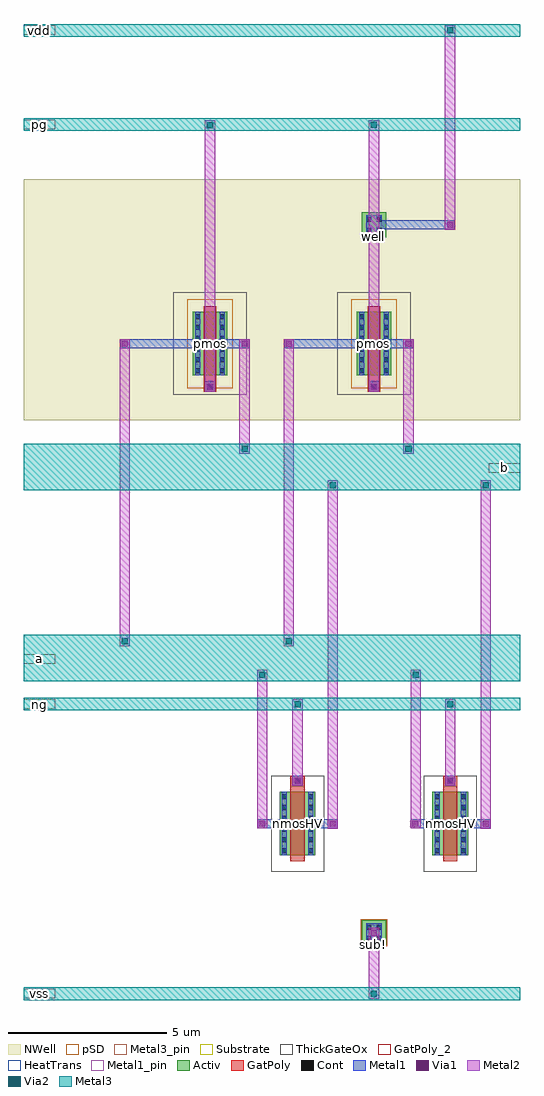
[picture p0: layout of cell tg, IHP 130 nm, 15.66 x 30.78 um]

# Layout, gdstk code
import gdstk
lib = gdstk.Library(unit=1e-6, precision=1e-09)
def R(c, l, rs):  # rectangles x0, y0, x1, y1
    for r in rs: c.add(gdstk.rectangle(r[:2], r[2:], *l))
def A(c, l, x, y, w, h, nx, ny, dx, dy):  # array of equal rectangles
    R(c, l, [(x+i*dx, y+j*dy, x+i*dx+w, y+j*dy+h) for i in range(nx) for j in range(ny)])
Activ = (1, 0)
GatPoly = (5, 0)
GatPoly_2 = (5, 2)
Cont = (6, 0)
Metal1 = (8, 0)
Metal1_pin = (8, 2)
Metal2 = (10, 0)
pSD = (14, 0)
Via1 = (19, 0)
Via2 = (29, 0)
Metal3 = (30, 0)
Metal3_pin = (30, 2)
NWell = (31, 0)
Substrate = (40, 0)
ThickGateOx = (44, 0)
HeatTrans = (51, 0)

c_tg = lib.new_cell('tg')
R(c_tg, Activ, [(2.235,-11.63,3.015,-10.85), (-0.35,-8.8,-0.05,-8.5), (-0.35,-8.8,0.78,-6.8), (0.48,-8.8,0.78,-8.5), (4.47,-8.8,4.77,-8.5), (4.47,-8.8,5.6,-6.8), (5.3,-8.8,5.6,-8.5), (-3.085,6.34,-2.785,6.64), (-3.085,6.34,-2.005,8.34), (-2.305,6.34,-2.005,6.64), (2.085,6.34,2.385,6.64), (2.085,6.34,3.165,8.34), (2.865,6.34,3.165,6.64), (2.235,10.7,3.015,11.48)])
R(c_tg, GatPoly, [(-0.01,-8.98,0.44,-6.62), (4.81,-8.98,5.26,-6.62), (-0.01,-6.64,0.44,-6.29), (4.81,-6.64,5.26,-6.29), (-2.745,5.83,-2.345,6.18), (2.425,5.83,2.825,6.18), (-2.745,6.16,-2.345,8.52), (2.425,6.16,2.825,8.52)])
R(c_tg, GatPoly_2, [(-0.01,-8.98,0.44,-6.62), (4.81,-8.98,5.26,-6.62), (-2.745,6.16,-2.345,8.52), (2.425,6.16,2.825,8.52)])
A(c_tg, Cont, -0.28, -8.73, 0.16, 0.16, 1, 6, 0, 0.34)
A(c_tg, Cont, 0.55, -8.73, 0.16, 0.16, 1, 6, 0, 0.34)
A(c_tg, Cont, 4.54, -8.73, 0.16, 0.16, 1, 6, 0, 0.34)
A(c_tg, Cont, 5.37, -8.73, 0.16, 0.16, 1, 6, 0, 0.34)
A(c_tg, Cont, -3.015, 6.41, 0.16, 0.16, 1, 6, 0, 0.34)
A(c_tg, Cont, -2.235, 6.41, 0.16, 0.16, 1, 6, 0, 0.34)
A(c_tg, Cont, 2.155, 6.41, 0.16, 0.16, 1, 6, 0, 0.34)
A(c_tg, Cont, 2.935, 6.41, 0.16, 0.16, 1, 6, 0, 0.34)
R(c_tg, Cont, [(2.375,-11.49,2.535,-11.33), (2.715,-11.49,2.875,-11.33), (2.375,-11.15,2.535,-10.99), (2.715,-11.15,2.875,-10.99), (0.135,-6.52,0.295,-6.36), (4.955,-6.52,5.115,-6.36), (-2.625,5.9,-2.465,6.06), (2.545,5.9,2.705,6.06), (2.375,10.84,2.535,11), (2.715,10.84,2.875,11), (2.375,11.18,2.535,11.34), (2.715,11.18,2.875,11.34)])
R(c_tg, Metal1, [(2.375,-11.54,2.875,-10.94), (2.375,-11.49,2.875,-10.99), (2.48,-11.345,2.77,-11.135), (-0.28,-8.8,-0.12,-6.8), (0.55,-8.8,0.71,-6.8), (4.54,-8.8,4.7,-6.8), (5.37,-8.8,5.53,-6.8), (-1.04,-7.94,-0.06,-7.66), (0.49,-7.94,1.47,-7.66), (3.78,-7.94,4.76,-7.66), (5.31,-7.94,6.29,-7.66), (-1.045,-7.905,-0.755,-7.695), (1.185,-7.905,1.475,-7.695), (3.775,-7.905,4.065,-7.695), (6.005,-7.905,6.295,-7.695), (0.055,-6.6,0.375,-6.28), (4.875,-6.6,5.195,-6.28), (0.07,-6.545,0.36,-6.335), (4.89,-6.545,5.18,-6.335), (-2.705,5.82,-2.385,6.14), (2.465,5.82,2.785,6.14), (-2.69,5.875,-2.4,6.085), (2.48,5.875,2.77,6.085), (-3.015,6.34,-2.855,8.34), (-2.235,6.34,-2.075,8.34), (2.155,6.34,2.315,8.34), (2.935,6.34,3.095,8.34), (-5.375,7.2,-2.795,7.48), (-2.295,7.2,-1.315,7.48), (-0.205,7.2,2.375,7.48), (2.875,7.2,3.855,7.48), (-5.38,7.235,-5.09,7.445), (-1.6,7.235,-1.31,7.445), (-0.21,7.235,0.08,7.445), (3.57,7.235,3.86,7.445), (2.375,10.79,2.875,11.39), (2.485,10.95,5.165,11.23), (4.88,10.985,5.17,11.195)])
R(c_tg, Metal1_pin, [(2.375,-11.49,2.875,-10.99), (-0.28,-8.8,-0.12,-6.8), (0.55,-8.8,0.71,-6.8), (4.54,-8.8,4.7,-6.8), (5.37,-8.8,5.53,-6.8), (-3.015,6.34,-2.855,8.34), (-2.235,6.34,-2.075,8.34), (2.155,6.34,2.315,8.34), (2.935,6.34,3.095,8.34), (2.375,10.79,2.875,11.39), (2.375,10.84,2.875,11.34)])
R(c_tg, Metal2, [(2.465,-13.32,2.785,-11.08), (2.48,-13.26,2.77,-13.06), (2.48,-11.34,2.77,-11.14), (1.17,-7.96,1.49,3.035), (5.99,-7.96,6.31,3.03), (-1.06,-7.94,-0.74,-2.94), (3.78,-7.94,4.1,-2.94), (-1.045,-7.9,-0.755,-7.7), (1.185,-7.9,1.475,-7.7), (3.775,-7.9,4.065,-7.7), (6.005,-7.9,6.295,-7.7), (0.055,-6.6,0.375,-3.87), (4.875,-6.6,5.195,-3.87), (0.07,-6.54,0.36,-6.34), (4.89,-6.54,5.18,-6.34), (0.07,-4.13,0.36,-3.93), (4.89,-4.13,5.18,-3.93), (-1.045,-3.205,-0.755,-3.005), (3.795,-3.205,4.085,-3.005), (-5.395,-2.21,-5.075,7.48), (-0.225,-2.21,0.095,7.48), (-5.38,-2.145,-5.09,-1.945), (-0.21,-2.145,0.08,-1.945), (1.185,2.78,1.475,2.98), (6.005,2.78,6.295,2.98), (-1.615,3.86,-1.295,7.48), (3.555,3.86,3.875,7.48), (-1.6,3.925,-1.31,4.125), (3.57,3.925,3.86,4.125), (-2.705,5.82,-2.385,14.38), (2.465,5.82,2.785,14.38), (-2.69,5.88,-2.4,6.08), (2.48,5.88,2.77,6.08), (-5.38,7.24,-5.09,7.44), (-1.6,7.24,-1.31,7.44), (-0.21,7.24,0.08,7.44), (3.57,7.24,3.86,7.44), (4.865,10.93,5.185,17.38), (4.88,10.99,5.17,11.19), (-2.69,14.12,-2.4,14.32), (2.48,14.15,2.77,14.35), (4.88,17.12,5.17,17.32)])
R(c_tg, pSD, [(2.205,-11.66,3.045,-10.82), (-3.265,5.94,-1.825,8.74), (1.905,5.94,3.345,8.74)])
R(c_tg, Via1, [(2.53,-11.335,2.72,-11.145), (-0.995,-7.895,-0.805,-7.705), (1.235,-7.895,1.425,-7.705), (3.825,-7.895,4.015,-7.705), (6.055,-7.895,6.245,-7.705), (0.12,-6.535,0.31,-6.345), (4.94,-6.535,5.13,-6.345), (-2.64,5.885,-2.45,6.075), (2.53,5.885,2.72,6.075), (-5.33,7.245,-5.14,7.435), (-1.55,7.245,-1.36,7.435), (-0.16,7.245,0.03,7.435), (3.62,7.245,3.81,7.435), (4.93,10.995,5.12,11.185)])
R(c_tg, Via2, [(2.53,-13.255,2.72,-13.065), (0.12,-4.125,0.31,-3.935), (4.94,-4.125,5.13,-3.935), (-0.995,-3.2,-0.805,-3.01), (3.845,-3.2,4.035,-3.01), (-5.33,-2.14,-5.14,-1.95), (-0.16,-2.14,0.03,-1.95), (1.235,2.785,1.425,2.975), (6.055,2.785,6.245,2.975), (-1.55,3.93,-1.36,4.12), (3.62,3.93,3.81,4.12), (-2.64,14.125,-2.45,14.315), (2.53,14.155,2.72,14.345), (4.93,17.125,5.12,17.315)])
R(c_tg, Metal3, [(-8.42,-13.36,7.24,-12.96), (2.48,-13.26,2.77,-13.06), (-8.42,-4.23,7.24,-3.83), (0.07,-4.13,0.36,-3.93), (4.89,-4.13,5.18,-3.93), (-8.42,-3.305,7.24,-1.845), (-1.045,-3.205,-0.755,-3.005), (3.795,-3.205,4.085,-3.005), (-5.38,-2.145,-5.09,-1.945), (-0.21,-2.145,0.08,-1.945), (-8.42,2.72,7.24,4.18), (1.185,2.78,1.475,2.98), (6.005,2.78,6.295,2.98), (-1.6,3.925,-1.31,4.125), (3.57,3.925,3.86,4.125), (-8.42,14.05,7.24,14.45), (-2.69,14.12,-2.4,14.32), (2.48,14.15,2.77,14.35), (-8.42,17.02,7.24,17.42), (4.88,17.12,5.17,17.32)])
R(c_tg, Metal3_pin, [(-8.42,-13.31,-7.42,-13.01), (-8.42,-4.18,-7.42,-3.88), (-8.42,-2.75,-7.42,-2.45), (6.24,3.275,7.24,3.575), (-8.42,14.1,-7.42,14.4), (-8.42,17.075,-7.42,17.375)])
R(c_tg, NWell, [(-8.42,4.92,7.24,12.52), (-3.705,5.72,-1.385,8.96), (1.465,5.72,3.785,8.96), (1.995,10.46,3.255,11.72), (2.235,10.7,3.015,11.48)])
R(c_tg, Substrate, [(2.235,-11.63,3.015,-10.85)])
R(c_tg, ThickGateOx, [(-0.62,-9.32,1.05,-6.28), (4.2,-9.32,5.87,-6.28), (-3.705,5.72,-1.385,8.96), (1.465,5.72,3.785,8.96)])
R(c_tg, HeatTrans, [(-0.01,-8.98,0.44,-6.62), (4.81,-8.98,5.26,-6.62), (-2.745,6.16,-2.345,8.52), (2.425,6.16,2.825,8.52)])
c_tg.add(gdstk.Label('nmosHV', (0.215,-7.8), layer=51, texttype=0))
c_tg.add(gdstk.Label('nmosHV', (5.035,-7.8), layer=51, texttype=0))
c_tg.add(gdstk.Label('pmos', (-2.545,7.34), layer=51, texttype=0))
c_tg.add(gdstk.Label('pmos', (2.625,7.34), layer=51, texttype=0))
c_tg.add(gdstk.Label('well', (2.625,10.71), layer=31, texttype=0))
c_tg.add(gdstk.Label('sub!', (2.625,-11.62), layer=40, texttype=0))
c_tg.add(gdstk.Label('nmosHV', (0.215,-7.8), layer=63, texttype=0))
c_tg.add(gdstk.Label('nmosHV', (5.035,-7.8), layer=63, texttype=0))
c_tg.add(gdstk.Label('pmosHV', (-2.545,7.34), layer=63, texttype=0))
c_tg.add(gdstk.Label('pmosHV', (2.625,7.34), layer=63, texttype=0))
c_tg.add(gdstk.Label('well', (2.625,10.71), layer=63, texttype=0))
c_tg.add(gdstk.Label('sub!', (2.625,-11.62), layer=63, texttype=0))
c_tg.add(gdstk.Label('vss', (-7.92,-13.16), layer=30, texttype=25))
c_tg.add(gdstk.Label('b', (6.74,3.425), layer=30, texttype=25))
c_tg.add(gdstk.Label('vdd', (-7.92,17.225), layer=30, texttype=25))
c_tg.add(gdstk.Label('pg', (-7.92,14.25), layer=30, texttype=25))
c_tg.add(gdstk.Label('a', (-7.92,-2.6), layer=30, texttype=25))
c_tg.add(gdstk.Label('ng', (-7.92,-4.03), layer=30, texttype=25))

lib.write_gds('tg.gds')
